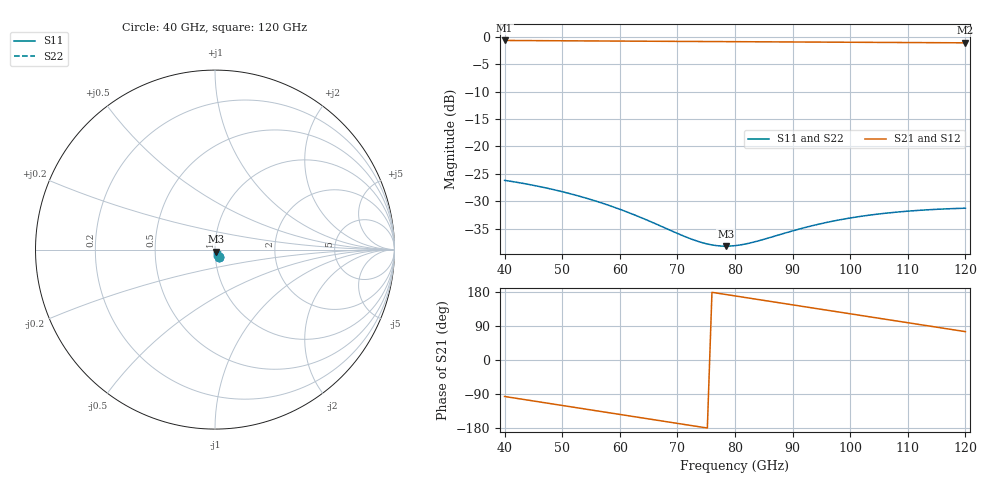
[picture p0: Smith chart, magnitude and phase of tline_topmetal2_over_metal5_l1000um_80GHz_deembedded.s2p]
! Created with skrf 2.2.0 (http://scikit-rf.org).
# GHz S DB R 50.0
! Port[1] = P1
! Port[2] = P2
!freq dBS11 angS11 dBS21 angS21 dBS12 angS12 dBS22 angS22
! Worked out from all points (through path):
!   101 points, 40 GHz to 120 GHz, reference 50 ohm
!   highest |S21| = -0.65 dB at 40 GHz (marker M1); lowest = -1.1 dB at 120 GHz (marker M2)
!   group delay of S21, straight-line fit = 6.56 ps
!   lowest |S11| = -38.2 dB at 78.4 GHz (marker M3), VSWR 1.02, Z = 50.5 - j1.14 ohm
!   |S11| at or under -10 dB: start of sweep to end of sweep
!   |S22| runs from -38.3 to -26.1 dB; largest |S21 - S12| = 1e-13
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40  -26.20 -62.2  -0.65 -96.3  -0.65 -96.3  -26.14 -62.6
43.2  -26.75 -68.3  -0.67 -103.8  -0.67 -103.8  -26.68 -68.7
46.4  -27.41 -74.1  -0.69 -111.4  -0.69 -111.4  -27.33 -74.5
49.6  -28.17 -79.4  -0.71 -119.0  -0.71 -119.0  -28.07 -80.0
53.6  -29.28 -85.4  -0.73 -128.5  -0.73 -128.5  -29.17 -86.1
60.8  -31.79 -93.1  -0.77 -145.5  -0.77 -145.5  -31.66 -94.1
67.2  -34.59 -93.6  -0.80 -160.6  -0.80 -160.6  -34.46 -95.2
70.4  -36.07 -89.9  -0.82 -168.2  -0.82 -168.2  -35.96 -91.9
73.6  -37.35 -82.7  -0.84 -175.8  -0.84 -175.8  -37.31 -85.0
76  -37.99 -75.1  -0.85 178.6  -0.85 178.6  -38.02 -77.5
78.4  -38.22 -66.7  -0.86 172.9  -0.86 172.9  -38.32 -68.9
80  -38.12 -61.2  -0.87 169.1  -0.87 169.1  -38.26 -63.2
82.4  -37.69 -54.2  -0.88 163.5  -0.88 163.5  -37.85 -55.8
86.4  -36.54 -46.7  -0.91 154.0  -0.91 154.0  -36.69 -47.7
89.6  -35.55 -43.9  -0.92 146.5  -0.92 146.5  -35.67 -44.7
93.6  -34.44 -43.4  -0.94 137.0  -0.94 137.0  -34.51 -44.0
97.6  -33.52 -44.8  -0.97 127.6  -0.97 127.6  -33.57 -45.4
100.8  -32.94 -46.7  -0.98 120.1  -0.98 120.1  -32.96 -47.3
107.2  -32.09 -51.6  -1.02 105.0  -1.02 105.0  -32.07 -52.3
110.4  -31.79 -54.2  -1.03 97.5  -1.03 97.5  -31.77 -55.0
113.6  -31.57 -56.9  -1.05 89.9  -1.05 89.9  -31.53 -57.8
120  -31.29 -62.1  -1.08 74.9  -1.08 74.9  -31.24 -63.2
